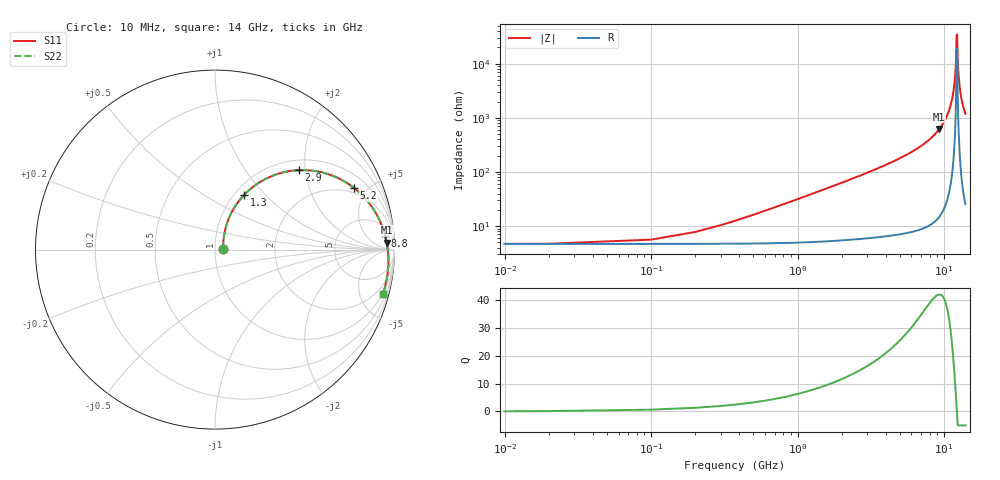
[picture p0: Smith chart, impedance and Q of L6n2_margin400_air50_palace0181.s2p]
! Created with skrf 2.2.0 (http://scikit-rf.org).
# GHz S DB R 50.0
! Port[1] = P1
! Port[2] = P2
!freq dBS11 angS11 dBS21 angS21 dBS12 angS12 dBS22 angS22
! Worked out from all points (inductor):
!   142 points, 10 MHz to 14 GHz, reference 50 ohm
!   read as one part in series: L = 4.92 nH near 500 MHz
!   highest Q = 41.8 at 9.3 GHz (marker M1), where L = 10.7 nH
!   self-resonance near 12.2 GHz
!   S11 on the Smith chart (normalised r, x): 10 MHz: 1.09, +0.01; 1.3 GHz: 1.11, +0.77; 2.9 GHz: 1.22, +1.84; 5.2 GHz: 1.67, +4.07; 8.8 GHz: 11, +18; 14 GHz: 0.98, -7.53
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0.01  -26.97 3.3  -0.40 -0.2  -0.40 -0.2  -26.97 3.3
0.6  -15.40 65.8  -0.58 -10.7  -0.58 -10.7  -15.40 65.8
1.3  -9.18 61.9  -1.10 -22.1  -1.10 -22.1  -9.18 61.9
2.4  -4.91 49.0  -2.37 -37.5  -2.37 -37.5  -4.92 49.0
2.9  -3.84 43.5  -3.07 -43.5  -3.07 -43.5  -3.84 43.5
4.7  -1.75 27.5  -5.96 -60.5  -5.96 -60.5  -1.75 27.5
5.2  -1.44 23.9  -6.84 -64.2  -6.84 -64.2  -1.44 23.9
7.1  -0.72 12.6  -10.53 -75.9  -10.53 -75.9  -0.73 12.6
8.8  -0.43 4.5  -14.70 -84.2  -14.70 -84.2  -0.43 4.5
9.3  -0.38 2.4  -16.23 -86.3  -16.23 -86.3  -0.38 2.4
9.4  -0.37 1.9  -16.57 -86.7  -16.57 -86.7  -0.37 1.9
10.9  -0.28 -4.0  -23.50 -92.1  -23.50 -92.1  -0.28 -4.0
11.7  -0.26 -6.9  -31.49 -93.2  -31.49 -93.2  -0.26 -6.9
12  -0.26 -8.0  -38.33 -90.4  -38.33 -90.4  -0.26 -8.0
12.1  -0.26 -8.3  -42.64 -86.1  -42.64 -86.1  -0.26 -8.4
12.2  -0.26 -8.7  -50.84 -66.4  -50.84 -66.4  -0.26 -8.7
12.3  -0.26 -9.1  -51.13 48.0  -51.13 48.0  -0.26 -9.1
12.4  -0.26 -9.4  -42.84 68.7  -42.84 68.7  -0.26 -9.4
12.5  -0.26 -9.8  -38.52 73.2  -38.52 73.2  -0.26 -9.8
12.8  -0.26 -10.8  -31.77 76.1  -31.77 76.1  -0.26 -10.8
13.3  -0.27 -12.5  -26.25 75.9  -26.25 75.9  -0.27 -12.5
14  -0.29 -14.9  -21.95 74.1  -21.95 74.1  -0.29 -14.9
